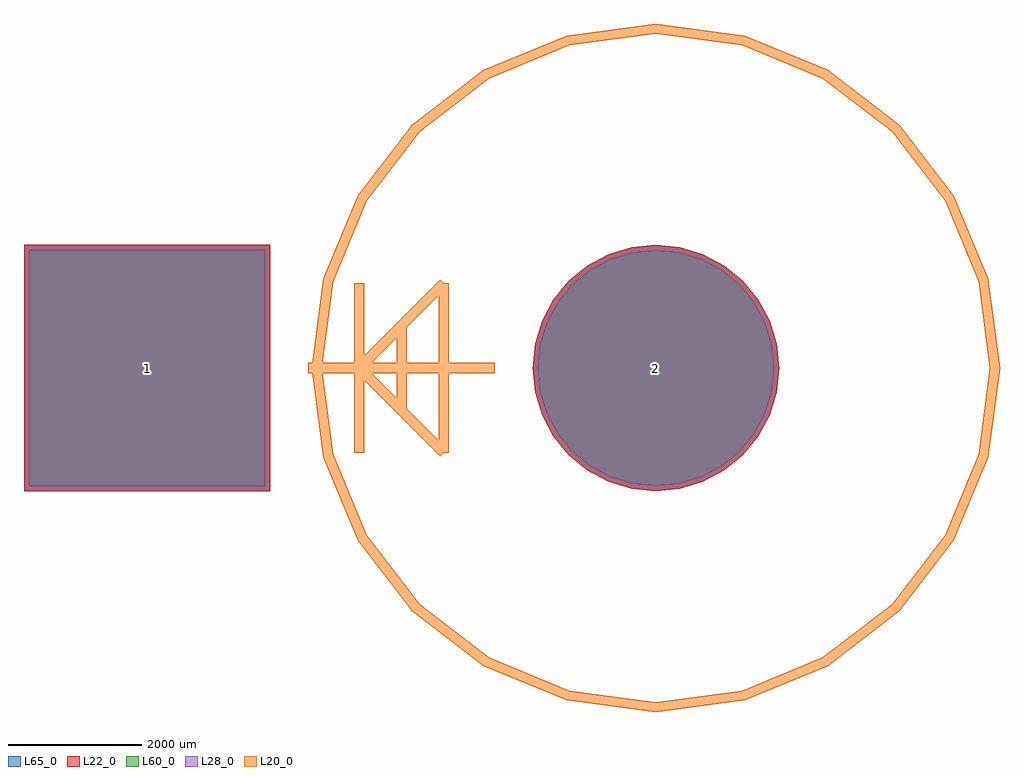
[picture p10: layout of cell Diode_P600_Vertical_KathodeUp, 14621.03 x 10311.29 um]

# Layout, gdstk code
import gdstk
lib = gdstk.Library(unit=1e-6, precision=1e-09)
def R(c, l, rs):  # rectangles x0, y0, x1, y1
    for r in rs: c.add(gdstk.rectangle(r[:2], r[2:], *l))
def P(c, l, *ps):  # polygons
    for p in ps: c.add(gdstk.Polygon(p, *l))
L20_0 = (20, 0)
L22_0 = (22, 0)
L28_0 = (28, 0)
L60_0 = (60, 0)
L65_0 = (65, 0)

diode_p600_vertical_kath = lib.new_cell('Diode_P600_Vertical_KathodeUp')
R(diode_p600_vertical_kath, L22_0, [(-1845.38,-1845.38,1845.38,1845.38)])
P(diode_p600_vertical_kath, L22_0, [(9465.38,0),(9429.922,360.016),(9324.909,706.196),(9154.377,1025.238),(8924.881,1304.881),(8645.238,1534.377),(8326.196,1704.909),(7980.016,1809.922),(7620,1845.38),(7259.984,1809.922),(6913.804,1704.909),(6594.762,1534.377),(6315.119,1304.881),(6085.623,1025.238),(5915.091,706.196),(5810.078,360.016),(5774.62,0),(5810.078,-360.016),(5915.091,-706.196),(6085.623,-1025.238),(6315.119,-1304.881),(6594.762,-1534.377),(6913.804,-1704.909),(7259.984,-1809.922),(7620,-1845.38),(7980.016,-1809.922),(8326.196,-1704.909),(8645.238,-1534.377),(8924.881,-1304.881),(9154.377,-1025.238),(9324.909,-706.196),(9429.922,-360.016)])
R(diode_p600_vertical_kath, L28_0, [(-1770.38,-1770.38,1770.38,1770.38)])
P(diode_p600_vertical_kath, L28_0, [(9390.38,0),(9356.363,345.384),(9255.618,677.495),(9092.017,983.57),(8871.848,1251.848),(8603.57,1472.017),(8297.495,1635.618),(7965.384,1736.363),(7620,1770.38),(7274.616,1736.363),(6942.505,1635.618),(6636.43,1472.017),(6368.152,1251.848),(6147.983,983.57),(5984.382,677.495),(5883.637,345.384),(5849.62,0),(5883.637,-345.384),(5984.382,-677.495),(6147.983,-983.57),(6368.152,-1251.848),(6636.43,-1472.017),(6942.505,-1635.618),(7274.616,-1736.363),(7620,-1770.38),(7965.384,-1736.363),(8297.495,-1635.618),(8603.57,-1472.017),(8871.848,-1251.848),(9092.017,-983.57),(9255.618,-677.495),(9356.363,-345.384)])
R(diode_p600_vertical_kath, L60_0, [(-1770.38,-1770.38,1770.38,1770.38)])
P(diode_p600_vertical_kath, L60_0, [(9390.38,0),(9356.363,345.384),(9255.618,677.495),(9092.017,983.57),(8871.848,1251.848),(8603.57,1472.017),(8297.495,1635.618),(7965.384,1736.363),(7620,1770.38),(7274.616,1736.363),(6942.505,1635.618),(6636.43,1472.017),(6368.152,1251.848),(6147.983,983.57),(5984.382,677.495),(5883.637,345.384),(5849.62,0),(5883.637,-345.384),(5984.382,-677.495),(6147.983,-983.57),(6368.152,-1251.848),(6636.43,-1472.017),(6942.505,-1635.618),(7274.616,-1736.363),(7620,-1770.38),(7965.384,-1736.363),(8297.495,-1635.618),(8603.57,-1472.017),(8871.848,-1251.848),(9092.017,-983.57),(9255.618,-677.495),(9356.363,-345.384)])
R(diode_p600_vertical_kath, L65_0, [(-1845.38,-1845.38,1845.38,1845.38)])
P(diode_p600_vertical_kath, L65_0, [(9465.38,0),(9429.922,360.016),(9324.909,706.196),(9154.377,1025.238),(8924.881,1304.881),(8645.238,1534.377),(8326.196,1704.909),(7980.016,1809.922),(7620,1845.38),(7259.984,1809.922),(6913.804,1704.909),(6594.762,1534.377),(6315.119,1304.881),(6085.623,1025.238),(5915.091,706.196),(5810.078,360.016),(5774.62,0),(5810.078,-360.016),(5915.091,-706.196),(6085.623,-1025.238),(6315.119,-1304.881),(6594.762,-1534.377),(6913.804,-1704.909),(7259.984,-1809.922),(7620,-1845.38),(7980.016,-1809.922),(8326.196,-1704.909),(8645.238,-1534.377),(8924.881,-1304.881),(9154.377,-1025.238),(9324.909,-706.196),(9429.922,-360.016)])
diode_p600_vertical_kath.add(gdstk.FlexPath([(2540,0),(2713.097,-1314.801),(3220.591,-2540),(4027.898,-3592.102),(5080,-4399.409),(6305.199,-4906.903),(7620,-5080),(8934.801,-4906.903),(10160,-4399.409),(11212.102,-3592.102),(12019.409,-2540),(12526.903,-1314.801),(12700,0),(12526.903,1314.801),(12019.409,2540),(11212.102,3592.102),(10160,4399.409),(8934.801,4906.903),(7620,5080),(6305.199,4906.903),(5080,4399.409),(4027.898,3592.102),(3220.591,2540),(2713.097,1314.801),(2540,0)], 149.998, ends="flush", simple_path=True, layer=20, datatype=0))  # L20_0
diode_p600_vertical_kath.add(gdstk.FlexPath([(3175,1270),(3175,-1270)], 149.998, ends="flush", simple_path=True, layer=20, datatype=0))  # L20_0
diode_p600_vertical_kath.add(gdstk.FlexPath([(4445,-1270),(3175,0)], 149.998, ends="flush", simple_path=True, layer=20, datatype=0))  # L20_0
diode_p600_vertical_kath.add(gdstk.FlexPath([(4445,1270),(4445,-1270)], 149.998, ends="flush", simple_path=True, layer=20, datatype=0))  # L20_0
diode_p600_vertical_kath.add(gdstk.FlexPath([(3175,0),(4445,1270)], 149.998, ends="flush", simple_path=True, layer=20, datatype=0))  # L20_0
diode_p600_vertical_kath.add(gdstk.FlexPath([(3810,635),(3810,-635)], 149.998, ends="flush", simple_path=True, layer=20, datatype=0))  # L20_0
diode_p600_vertical_kath.add(gdstk.FlexPath([(3175,0),(4445,0)], 149.998, ends="flush", simple_path=True, layer=20, datatype=0))  # L20_0
diode_p600_vertical_kath.add(gdstk.FlexPath([(4445,0),(5207,0)], 149.998, ends="flush", simple_path=True, layer=20, datatype=0))  # L20_0
diode_p600_vertical_kath.add(gdstk.FlexPath([(3175,0),(2413,0)], 149.998, ends="flush", simple_path=True, layer=20, datatype=0))  # L20_0
diode_p600_vertical_kath.add(gdstk.Label('1', (0,0), layer=28, texttype=0))
diode_p600_vertical_kath.add(gdstk.Label('2', (7620,0), layer=28, texttype=0))
diode_p600_vertical_kath.add(gdstk.Label('type', (4826,6985), layer=9, texttype=0))
diode_p600_vertical_kath.add(gdstk.Label('devicename', (4191,-6985), layer=9, texttype=0))

lib.write_gds('Diode_P600_Vertical_KathodeUp.gds')
